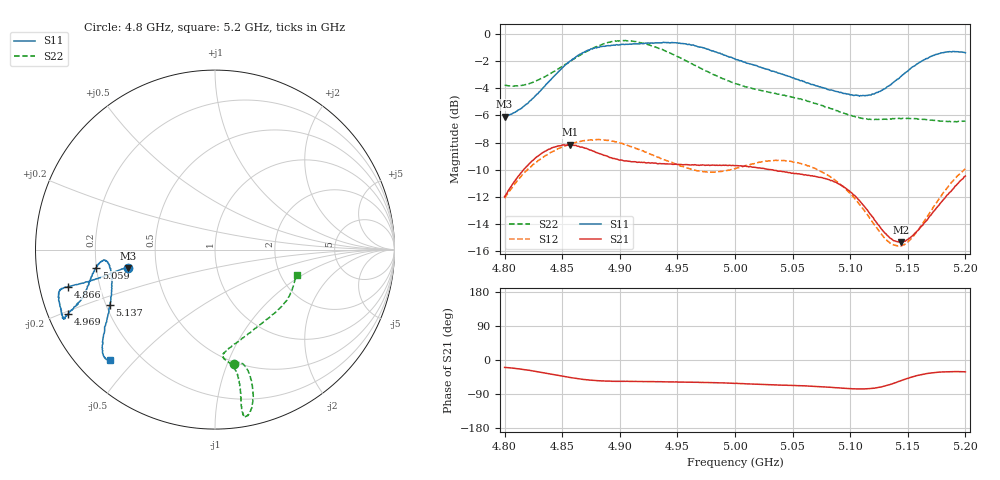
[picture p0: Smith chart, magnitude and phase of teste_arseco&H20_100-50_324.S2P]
! Network Analyzer HP8722D
! Hewlett-Packard
! Data name: Linha & Wilkinson
! Saver's name: Rodrigo Anjos
! Comments: Teste da utilização de aquisição
! continua pelo VNA HP8722D
! Time and date: 6/5/2025 15:16
!  Frequency  S11  S21  S12  S22
# HZ  S  MA R 50
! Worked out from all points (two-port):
!   401 points, 4.8 GHz to 5.2 GHz, reference 50 ohm
!   highest |S21| = -8.16 dB at 4.857 GHz (marker M1); lowest = -15.3 dB at 5.144 GHz (marker M2)
!   |S21| within 3 dB of the highest: 4.806 GHz to 5.093 GHz (286.4 MHz wide, 5.79 % of centre); 5.191805 GHz to end of sweep
!   lowest |S11| = -6.1 dB at 4.8 GHz (marker M3), VSWR 2.97, Z = 17 - j4.59 ohm
!   |S11| at or under -10 dB: nowhere
!   |S22| runs from -6.5 to -0.5 dB; largest |S21 - S12| = 0.62
!   S11 on the Smith chart (normalised r, x): 4.8 GHz: 0.34, -0.09; 4.866 GHz: 0.09, -0.12; 4.969 GHz: 0.06, -0.21; 5.059 GHz: 0.20, -0.07; 5.137 GHz: 0.22, -0.24; 5.2 GHz: 0.09, -0.43
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4.8e9  0.4965 -168.2  0.2519 -19.6  0.2487 -140.8  0.6474 -80.4
4.829e9  0.6033 -166.9  0.355 -31.2  0.3418 -144.9  0.6768 -75.2
4.857e9  0.7953 -165.8  0.3908 -46.3  0.393 -150.2  0.7927 -74.7
4.866e9  0.8433 -165.9  0.3828 -50.3  0.4023 -151.8  0.8371 -75.3
4.867e9  0.8487 -165.8  0.3837 -50.7  0.4033 -151.9  0.8426 -75.3
4.883e9  0.8979 -165.1  0.3619 -55.1  0.408 -154.7  0.9084 -77.1
4.903e9  0.9159 -161.9  0.3419 -56.4  0.3936 -156.9  0.945 -79.4
4.934e9  0.9273 -156.4  0.3333 -57.4  0.3512 -155.6  0.8838 -80.5
4.969e9  0.8945 -156.2  0.3281 -59.0  0.3133 -147.3  0.7522 -79.7
5e9  0.8083 -159.0  0.3275 -61.7  0.3195 -137.2  0.6567 -81.2
5.036e9  0.7235 -165.6  0.3142 -65.8  0.3423 -134.3  0.6022 -85.7
5.059e9  0.6688 -171.4  0.3037 -68.2  0.3314 -136.1  0.5721 -84.4
5.067e9  0.6517 -173.0  0.3007 -69.1  0.3228 -136.7  0.5596 -82.7
5.084e9  0.6215 -174.5  0.2889 -72.2  0.2953 -138.2  0.5297 -76.2
5.1e9  0.5966 -172.3  0.2624 -75.4  0.2587 -138.7  0.5034 -67.2
5.116e9  0.5956 -165.5  0.2213 -75.8  0.213 -135.6  0.4845 -55.8
5.134e9  0.6452 -154.2  0.1782 -65.2  0.1708 -120.7  0.4858 -43.3
5.137e9  0.6606 -152.3  0.1743 -62.4  0.1679 -116.8  0.4883 -41.4
5.144e9  0.6976 -148.8  0.1712 -54.6  0.1655 -107.7  0.4876 -37.4
5.155e9  0.7592 -144.0  0.1823 -43.6  0.1805 -93.9  0.488 -31.9
5.174e9  0.8395 -138.5  0.2261 -32.8  0.2367 -80.3  0.48 -23.9
5.2e9  0.852 -133.6  0.2999 -31.4  0.3189 -76.9  0.4775 -17.5
